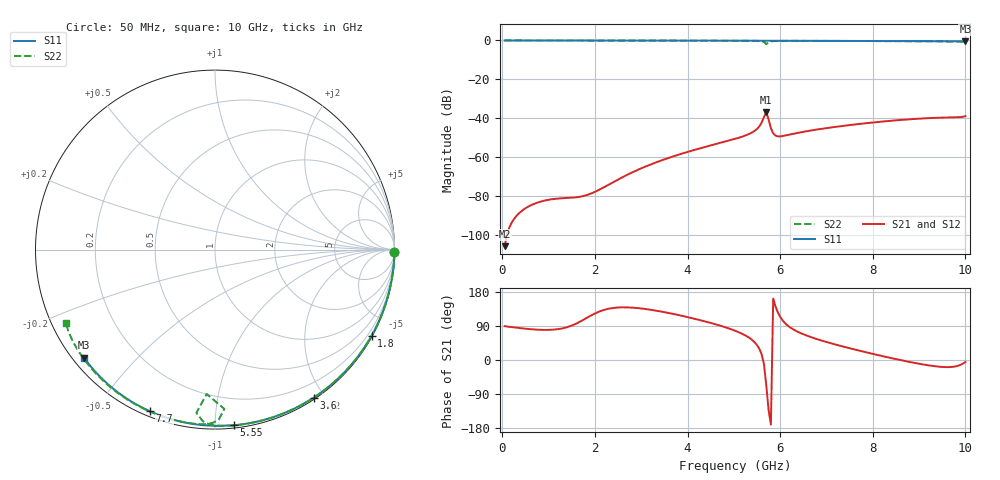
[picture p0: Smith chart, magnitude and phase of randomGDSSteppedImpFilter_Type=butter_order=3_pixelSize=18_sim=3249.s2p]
! freq	dB(S11)	phase(S11)	dB(S12)	phase(S12)
!  dB(S21)	phase(S21)	dB(S22)	phase(S22)
!S-par simulation data
#  GHz  S  DB  R 50
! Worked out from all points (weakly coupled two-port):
!   200 points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, 50 MHz to 10 GHz, reference 50 ohm
!   highest |S21| = -36.87 dB at 5.7 GHz (marker M1); lowest = -105.8 dB at 50 MHz (marker M2)
!   lowest |S11| = -0.5 dB at 10 GHz (marker M3), VSWR 35.79, Z = 1.58 - j18 ohm
!   |S11| at or under -10 dB: nowhere
!   |S22| runs from -1.9 to 0.0 dB; largest |S21 - S12| = 0
!   S11 on the Smith chart (normalised r, x): 50 MHz: open; 1.8 GHz: 0.03, -3.89; 3.6 GHz: 0.02, -1.87; 5.55 GHz: 0.02, -1.11; 7.7 GHz: 0.02, -0.67; 10 GHz: 0.03, -0.36
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0.05  -0.00 -0.8  -105.78 89.2  -105.78 89.2  -0.00 -0.9
0.9  -0.02 -14.6  -82.42 79.4  -82.42 79.4  -0.02 -15.6
1.75  -0.04 -28.1  -80.02 106.1  -80.02 106.1  -0.04 -30.0
1.8  -0.04 -28.8  -79.69 109.5  -79.69 109.5  -0.04 -30.8
2.85  -0.06 -45.1  -67.35 137.8  -67.35 137.8  -0.06 -48.2
3.4  -0.07 -53.3  -61.99 128.5  -61.99 128.5  -0.08 -57.0
3.6  -0.08 -56.3  -60.33 123.8  -60.33 123.8  -0.08 -60.2
5.05  -0.12 -77.1  -50.44 76.2  -50.44 76.2  -0.13 -82.7
5.35  -0.13 -81.2  -47.86 57.1  -47.86 57.1  -0.15 -87.8
5.55  -0.14 -84.0  -44.20 29.7  -44.20 29.7  -0.25 -92.3
5.65  -0.15 -85.4  -39.41 -10.5  -39.41 -10.5  -0.77 -96.5
5.7  -0.16 -86.0  -36.87 -66.3  -36.87 -66.3  -1.87 -93.3
5.75  -0.16 -86.6  -40.57 -131.7  -40.57 -131.7  -1.02 -86.6
5.8  -0.15 -87.3  -45.11 -170.3  -45.11 -170.3  -0.48 -88.7
5.85  -0.15 -88.0  -47.74 162.2  -47.74 162.2  -0.32 -90.5
5.9  -0.15 -88.6  -48.94 141.2  -48.94 141.2  -0.26 -91.9
6.05  -0.16 -90.7  -49.17 105.0  -49.17 105.0  -0.21 -95.0
6.7  -0.19 -99.2  -46.17 58.9  -46.17 58.9  -0.21 -105.1
7.7  -0.26 -112.0  -42.96 24.9  -42.96 24.9  -0.28 -119.1
8.35  -0.31 -120.1  -41.39 6.4  -41.39 6.4  -0.34 -128.0
9.4  -0.41 -133.1  -39.76 -17.3  -39.76 -17.3  -0.46 -142.9
10  -0.49 -140.4  -38.92 -5.2  -38.92 -5.2  -0.67 -153.6
